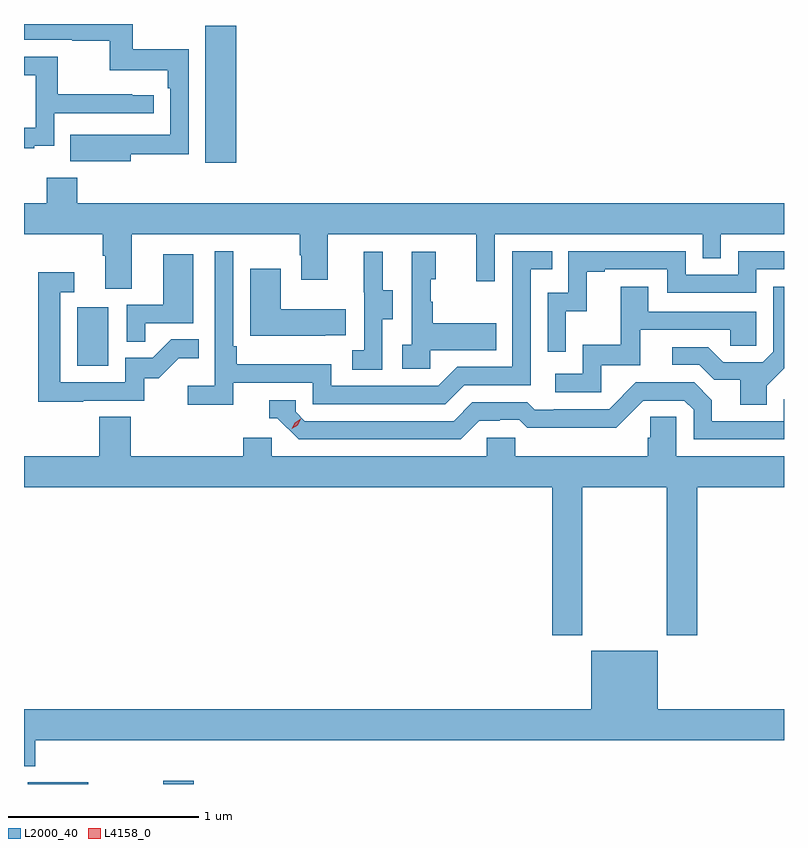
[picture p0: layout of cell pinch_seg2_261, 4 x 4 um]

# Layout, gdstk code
import gdstk
lib = gdstk.Library(unit=1e-6, precision=1e-09)
def R(c, l, rs):  # rectangles x0, y0, x1, y1
    for r in rs: c.add(gdstk.rectangle(r[:2], r[2:], *l))
def P(c, l, *ps):  # polygons
    for p in ps: c.add(gdstk.Polygon(p, *l))
L2000_40 = (2000, 40)
L4158_0 = (4158, 0)

pinch_seg2_261 = lib.new_cell('pinch_seg2_261')
R(pinch_seg2_261, L2000_40, [(889.891,662.059,890.209,662.068), (890.603,662.059,890.764,662.077), (890.15,664.26,890.314,664.567), (890.825,665.328,890.986,666.049)])
P(pinch_seg2_261, L2000_40, [(890.431,665.374),(890.736,665.374),(890.736,665.926),(890.443,665.926),(890.443,666.059),(889.87,666.059),(889.87,665.976),(890.125,665.976),(890.125,665.971),(890.322,665.971),(890.322,665.816),(890.627,665.816),(890.627,665.72),(890.64,665.72),(890.64,665.475),(890.327,665.475),(890.327,665.476),(890.113,665.476),(890.113,665.336),(890.431,665.336)],
  [(889.925,665.417),(890.028,665.417),(890.028,665.589),(890.554,665.589),(890.554,665.685),(890.441,665.685),(890.441,665.69),(890.048,665.69),(890.048,665.886),(889.87,665.886),(889.87,665.79),(889.932,665.79),(889.932,665.514),(889.87,665.514),(889.87,665.406),(889.925,665.406)],
  [(890.437,664.952),(891.322,664.952),(891.322,664.841),(891.329,664.841),(891.329,664.713),(891.469,664.713),(891.469,664.952),(892.25,664.952),(892.25,664.704),(892.347,664.704),(892.347,664.952),(893.442,664.952),(893.442,664.825),(893.538,664.825),(893.538,664.952),(893.87,664.952),(893.87,665.116),(890.15,665.116),(890.15,665.251),(889.99,665.251),(889.99,665.116),(889.87,665.116),(889.87,664.952),(890.285,664.952),(890.285,664.84),(890.297,664.84),(890.297,664.666),(890.437,664.666)],
  [(890.972,664.17),(891.39,664.17),(891.39,664.059),(892.087,664.059),(892.186,664.158),(892.536,664.158),(892.536,664.767),(892.649,664.767),(892.649,664.863),(892.44,664.863),(892.44,664.254),(892.149,664.254),(892.05,664.155),(891.486,664.155),(891.486,664.267),(890.99,664.267),(890.99,664.363),(890.97,664.363),(890.97,664.864),(890.874,664.864),(890.874,664.156),(890.733,664.156),(890.733,664.054),(890.972,664.054)],
  [(892.722,664.547),(892.832,664.547),(892.832,664.755),(892.927,664.755),(892.927,664.767),(893.256,664.767),(893.256,664.644),(893.724,664.644),(893.724,664.767),(893.87,664.767),(893.87,664.863),(893.628,664.863),(893.628,664.74),(893.352,664.74),(893.352,664.863),(892.734,664.863),(892.734,664.644),(892.626,664.644),(892.626,664.335),(892.722,664.335)],
  [(891.756,664.504),(891.811,664.504),(891.811,664.659),(891.757,664.659),(891.757,664.861),(891.659,664.861),(891.659,664.647),(891.66,664.647),(891.66,664.343),(891.597,664.343),(891.597,664.24),(891.756,664.24)],
  [(892.008,664.343),(892.355,664.343),(892.355,664.483),(892.021,664.483),(892.021,664.598),(892.011,664.598),(892.011,664.716),(892.036,664.716),(892.036,664.861),(891.912,664.861),(891.912,664.37),(891.861,664.37),(891.861,664.245),(892.008,664.245)],
  [(890.507,664.485),(890.761,664.485),(890.761,664.846),(890.603,664.846),(890.603,664.581),(890.412,664.581),(890.412,664.387),(890.507,664.387)],
  [(891.455,664.421),(891.563,664.421),(891.563,664.558),(891.22,664.558),(891.22,664.771),(891.062,664.771),(891.062,664.418),(891.455,664.418)],
  [(890.183,664.077),(890.502,664.077),(890.502,664.194),(890.578,664.194),(890.685,664.301),(890.789,664.301),(890.789,664.4),(890.645,664.4),(890.547,664.302),(890.403,664.302),(890.403,664.173),(890.061,664.173),(890.061,664.647),(890.134,664.647),(890.134,664.753),(889.945,664.753),(889.945,664.072),(890.183,664.072)],
  [(892.908,664.263),(893.113,664.263),(893.113,664.449),(893.587,664.449),(893.587,664.365),(893.724,664.365),(893.724,664.545),(893.155,664.545),(893.155,664.675),(893.011,664.675),(893.011,664.372),(892.812,664.372),(892.812,664.218),(892.665,664.218),(892.665,664.122),(892.908,664.122)],
  [(893.779,664.156),(893.87,664.247),(893.87,664.675),(893.814,664.675),(893.814,664.335),(893.757,664.278),(893.551,664.278),(893.47,664.359),(893.283,664.359),(893.283,664.266),(893.424,664.266),(893.504,664.186),(893.639,664.186),(893.639,664.054),(893.779,664.054)],
  [(892.267,663.972),(892.374,663.972),(892.374,663.975),(892.477,663.975),(892.519,663.933),(892.752,663.933),(892.752,663.935),(892.988,663.935),(893.13,664.077),(893.346,664.077),(893.394,664.029),(893.394,663.873),(893.87,663.873),(893.87,664.085),(893.868,664.083),(893.868,663.969),(893.491,663.969),(893.491,664.079),(893.397,664.173),(893.091,664.173),(892.95,664.032),(892.657,664.032),(892.657,664.029),(892.558,664.029),(892.519,664.068),(892.23,664.068),(892.131,663.969),(891.348,663.969),(891.3,664.017),(891.3,664.08),(891.161,664.08),(891.161,663.984),(891.204,663.984),(891.315,663.873),(892.168,663.873)],
  [(892.809,663.62),(893.254,663.62),(893.254,662.841),(893.414,662.841),(893.414,663.62),(893.87,663.62),(893.87,663.784),(893.304,663.784),(893.304,663.992),(893.167,663.992),(893.167,663.882),(893.153,663.882),(893.153,663.784),(892.455,663.784),(892.455,663.882),(892.305,663.882),(892.305,663.784),(891.174,663.784),(891.174,663.882),(891.023,663.882),(891.023,663.784),(890.432,663.784),(890.432,663.992),(890.267,663.992),(890.267,663.784),(889.87,663.784),(889.87,663.62),(892.649,663.62),(892.649,662.841),(892.809,662.841)],
  [(889.928,662.288),(893.87,662.288),(893.87,662.452),(893.206,662.452),(893.206,662.761),(892.856,662.761),(892.856,662.452),(889.87,662.452),(889.87,662.153),(889.928,662.153)])
P(pinch_seg2_261, L4158_0, [(891.28,663.928),(891.28,663.928),(891.296,663.961),(891.326,663.981),(891.327,663.981),(891.327,663.98),(891.311,663.948),(891.28,663.928)])

lib.write_gds('pinch_seg2_261.gds')
